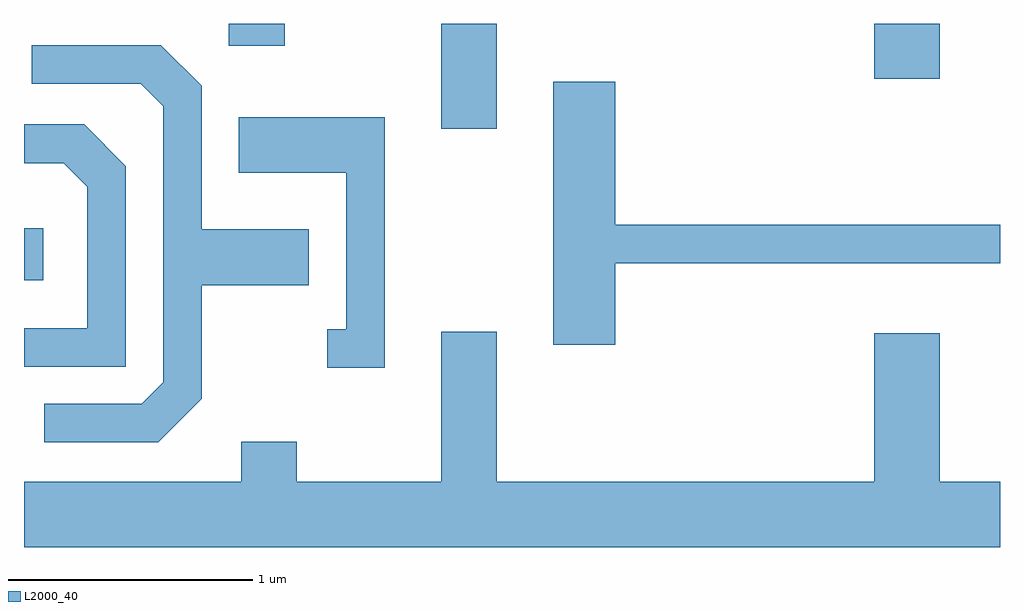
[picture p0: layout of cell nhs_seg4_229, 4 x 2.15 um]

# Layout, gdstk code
import gdstk
lib = gdstk.Library(unit=1e-6, precision=1e-09)
def R(c, l, rs):  # rectangles x0, y0, x1, y1
    for r in rs: c.add(gdstk.rectangle(r[:2], r[2:], *l))
def P(c, l, *ps):  # polygons
    for p in ps: c.add(gdstk.Polygon(p, *l))
L2000_40 = (2000, 40)

nhs_seg4_229 = lib.new_cell('nhs_seg4_229')
R(nhs_seg4_229, L2000_40, [(191.611,1306.931,191.689,1307.144), (193.321,1307.551,193.549,1307.982), (195.096,1307.756,195.364,1307.982), (192.451,1307.891,192.679,1307.982)])
P(nhs_seg4_229, L2000_40, [(192.339,1306.444),(192.339,1306.911),(192.779,1306.911),(192.779,1307.139),(192.339,1307.139),(192.339,1307.727),(192.172,1307.894),(191.643,1307.894),(191.643,1307.736),(192.089,1307.736),(192.181,1307.644),(192.181,1306.512),(192.094,1306.424),(191.693,1306.424),(191.693,1306.266),(192.162,1306.266)],
  [(194.034,1307.001),(195.611,1307.001),(195.611,1307.159),(194.034,1307.159),(194.034,1307.744),(193.781,1307.744),(193.781,1306.666),(194.034,1306.666)],
  [(193.089,1307.599),(192.491,1307.599),(192.491,1307.371),(192.931,1307.371),(192.931,1306.729),(192.853,1306.729),(192.853,1306.571),(193.089,1306.571)],
  [(192.029,1307.397),(191.857,1307.569),(191.611,1307.569),(191.611,1307.411),(191.774,1307.411),(191.871,1307.314),(191.871,1306.734),(191.611,1306.734),(191.611,1306.576),(192.029,1306.576)],
  [(195.611,1306.104),(195.364,1306.104),(195.364,1306.714),(195.096,1306.714),(195.096,1306.104),(193.549,1306.104),(193.549,1306.719),(193.321,1306.719),(193.321,1306.104),(192.729,1306.104),(192.729,1306.269),(192.501,1306.269),(192.501,1306.104),(191.611,1306.104),(191.611,1305.836),(195.611,1305.836)])

lib.write_gds('nhs_seg4_229.gds')
